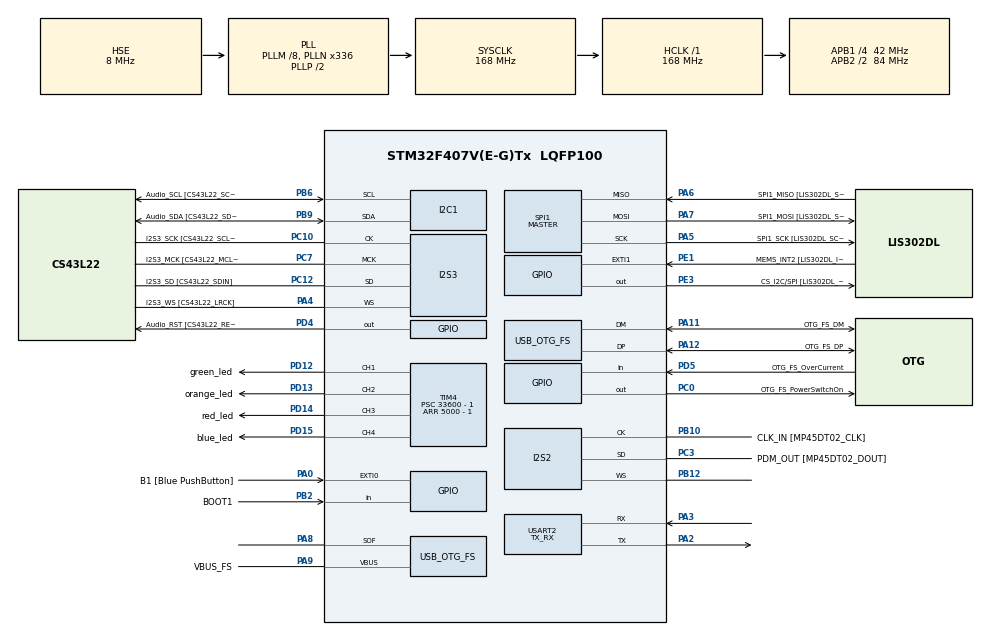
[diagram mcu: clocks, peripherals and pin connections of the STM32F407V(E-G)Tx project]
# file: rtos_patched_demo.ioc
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Dma.Request0=USART2_RX
Dma.Request1=USART2_TX
Dma.Request2=SPI2_RX
Dma.Request3=SPI3_TX
Dma.Request4=TIM3_CH4/UP
Dma.SPI2_RX.2.Direction=DMA_PERIPH_TO_MEMORY
Dma.SPI2_RX.2.FIFOMode=DMA_FIFOMODE_DISABLE
Dma.SPI2_RX.2.Instance=DMA1_Stream3
Dma.SPI2_RX.2.MemDataAlignment=DMA_MDATAALIGN_HALFWORD
Dma.SPI2_RX.2.MemInc=DMA_MINC_ENABLE
Dma.SPI2_RX.2.Mode=DMA_CIRCULAR
Dma.SPI2_RX.2.PeriphDataAlignment=DMA_PDATAALIGN_HALFWORD
Dma.SPI2_RX.2.PeriphInc=DMA_PINC_DISABLE
Dma.SPI2_RX.2.Priority=DMA_PRIORITY_HIGH
Dma.SPI3_TX.3.Direction=DMA_MEMORY_TO_PERIPH
Dma.SPI3_TX.3.FIFOMode=DMA_FIFOMODE_DISABLE
Dma.SPI3_TX.3.Instance=DMA1_Stream7
Dma.SPI3_TX.3.MemDataAlignment=DMA_MDATAALIGN_HALFWORD
Dma.SPI3_TX.3.MemInc=DMA_MINC_ENABLE
Dma.SPI3_TX.3.Mode=DMA_CIRCULAR
Dma.SPI3_TX.3.PeriphDataAlignment=DMA_PDATAALIGN_HALFWORD
Dma.SPI3_TX.3.PeriphInc=DMA_PINC_DISABLE
Dma.SPI3_TX.3.Priority=DMA_PRIORITY_HIGH
Dma.TIM3_CH4/UP.4.Direction=DMA_PERIPH_TO_MEMORY
Dma.TIM3_CH4/UP.4.FIFOMode=DMA_FIFOMODE_DISABLE
Dma.TIM3_CH4/UP.4.Instance=DMA1_Stream2
Dma.TIM3_CH4/UP.4.MemDataAlignment=DMA_MDATAALIGN_HALFWORD
Dma.TIM3_CH4/UP.4.MemInc=DMA_MINC_ENABLE
Dma.TIM3_CH4/UP.4.Mode=DMA_CIRCULAR
Dma.TIM3_CH4/UP.4.PeriphDataAlignment=DMA_PDATAALIGN_HALFWORD
Dma.TIM3_CH4/UP.4.PeriphInc=DMA_PINC_DISABLE
Dma.TIM3_CH4/UP.4.Priority=DMA_PRIORITY_MEDIUM
Dma.USART2_RX.0.Direction=DMA_PERIPH_TO_MEMORY
Dma.USART2_RX.0.FIFOMode=DMA_FIFOMODE_DISABLE
Dma.USART2_RX.0.Instance=DMA1_Stream5
Dma.USART2_RX.0.MemDataAlignment=DMA_MDATAALIGN_BYTE
Dma.USART2_RX.0.MemInc=DMA_MINC_ENABLE
Dma.USART2_RX.0.Mode=DMA_NORMAL
Dma.USART2_RX.0.PeriphDataAlignment=DMA_PDATAALIGN_BYTE
Dma.USART2_RX.0.PeriphInc=DMA_PINC_DISABLE
Dma.USART2_RX.0.Priority=DMA_PRIORITY_MEDIUM
Dma.USART2_TX.1.Direction=DMA_MEMORY_TO_PERIPH
Dma.USART2_TX.1.FIFOMode=DMA_FIFOMODE_DISABLE
Dma.USART2_TX.1.Instance=DMA1_Stream6
Dma.USART2_TX.1.MemDataAlignment=DMA_MDATAALIGN_BYTE
Dma.USART2_TX.1.MemInc=DMA_MINC_ENABLE
Dma.USART2_TX.1.Mode=DMA_NORMAL
Dma.USART2_TX.1.PeriphDataAlignment=DMA_PDATAALIGN_BYTE
Dma.USART2_TX.1.PeriphInc=DMA_PINC_DISABLE
Dma.USART2_TX.1.Priority=DMA_PRIORITY_MEDIUM
FREERTOS.HEAP_NUMBER=4
FREERTOS.Tasks01=defaultTask,8,256,StartDefaultTask,Default,NULL,Dynamic,NULL,NULL
FREERTOS.configCHECK_FOR_STACK_OVERFLOW=2
FREERTOS.configENABLE_FPU=1
FREERTOS.configMINIMAL_STACK_SIZE=256
FREERTOS.configTIMER_TASK_PRIORITY=2
FREERTOS.configUSE_MALLOC_FAILED_HOOK=1
FREERTOS.configUSE_NEWLIB_REENTRANT=1
FREERTOS.copyHeapFile=0
I2C1.I2C_Mode=I2C_Fast
I2S2.AudioFreq=I2S_AUDIOFREQ_192K
I2S2.CPOL=I2S_CPOL_HIGH
I2S2.ErrorAudioFreq=-2.34 %
I2S2.FullDuplexMode=I2S_FULLDUPLEXMODE_DISABLE
I2S2.Instance=SPI$Index
I2S2.Mode=I2S_MODE_MASTER_RX
I2S2.RealAudioFreq=187.5 KHz
I2S2.Standard=I2S_STANDARD_MSB
I2S2.VirtualMode=I2S_MODE_MASTER
I2S3.AudioFreq-Half_Duplex_Master=I2S_AUDIOFREQ_96K
I2S3.ErrorAudioFreq=-2.34 %
I2S3.ErrorAudioFreq-Half_Duplex_Master=0.8 %
I2S3.FullDuplexMode=I2S_FULLDUPLEXMODE_DISABLE
I2S3.Instance=SPI$Index
I2S3.RealAudioFreq=93.75 KHz
I2S3.RealAudioFreq-Half_Duplex_Master=96.774 KHz
I2S3.VirtualMode=I2S_MODE_MASTER
Mcu.Family=STM32F4
Mcu.Name=STM32F407V(E-G)Tx
Mcu.Package=LQFP100
NVIC.DMA1_Stream2_IRQn=true\:5\:0\:false\:false\:true\:true\:false\:true\:true
NVIC.DMA1_Stream3_IRQn=true\:5\:0\:false\:false\:true\:true\:false\:true\:true
NVIC.DMA1_Stream5_IRQn=true\:5\:0\:false\:false\:true\:true\:false\:true\:true
NVIC.DMA1_Stream6_IRQn=true\:5\:0\:false\:false\:true\:true\:false\:true\:true
NVIC.DMA1_Stream7_IRQn=true\:5\:0\:false\:false\:true\:true\:false\:true\:true
NVIC.OTG_FS_IRQn=true\:5\:0\:false\:false\:true\:true\:true\:true\:true
NVIC.PriorityGroup=NVIC_PRIORITYGROUP_4
NVIC.SPI2_IRQn=true\:5\:0\:false\:false\:true\:true\:true\:true\:true
NVIC.SPI3_IRQn=true\:5\:0\:false\:false\:true\:true\:true\:true\:true
NVIC.TIM2_IRQn=true\:15\:0\:false\:false\:true\:false\:false\:true\:true
NVIC.TimeBase=TIM2_IRQn
NVIC.TimeBaseIP=TIM2
NVIC.USART2_IRQn=true\:5\:0\:false\:false\:true\:true\:true\:true\:true
PA0-WKUP.GPIO_Label=B1 [Blue PushButton]
PA0-WKUP.GPIO_ModeDefaultEXTI=GPIO_MODE_EVT_RISING
PA0-WKUP.GPIO_PuPd=GPIO_NOPULL
PA0-WKUP.Signal=GPXTI0
PA10.GPIO_Label=OTG_FS_ID
PA10.GPIO_Mode=GPIO_MODE_AF_PP
PA10.GPIO_PuPd=GPIO_NOPULL
PA10.GPIO_Speed=GPIO_SPEED_FREQ_LOW
PA10.Signal=USB_OTG_FS_ID
PA11.GPIO_Label=OTG_FS_DM
PA11.GPIO_Mode=GPIO_MODE_AF_PP
PA11.GPIO_PuPd=GPIO_NOPULL
PA11.GPIO_Speed=GPIO_SPEED_FREQ_LOW
PA11.Mode=Device_Only
PA11.Signal=USB_OTG_FS_DM
PA12.GPIO_Label=OTG_FS_DP
PA12.GPIO_Mode=GPIO_MODE_AF_PP
PA12.GPIO_PuPd=GPIO_NOPULL
PA12.GPIO_Speed=GPIO_SPEED_FREQ_LOW
PA12.Mode=Device_Only
PA12.Signal=USB_OTG_FS_DP
PA13.GPIO_Label=SWDIO
PA13.Mode=Serial_Wire
PA13.Signal=SYS_JTMS-SWDIO
PA14.GPIO_Label=SWCLK
PA14.Mode=Serial_Wire
PA14.Signal=SYS_JTCK-SWCLK
PA2.Mode=Asynchronous
PA2.Signal=USART2_TX
PA3.Mode=Asynchronous
PA3.Signal=USART2_RX
PA4.GPIO_Label=I2S3_WS [CS43L22_LRCK]
PA4.GPIO_Mode=GPIO_MODE_AF_PP
PA4.GPIO_PuPd=GPIO_NOPULL
PA4.GPIO_Speed=GPIO_SPEED_FREQ_LOW
PA4.Mode=Half_Duplex_Master
PA4.Signal=I2S3_WS
PA5.GPIO_Label=SPI1_SCK [LIS302DL_SCL/SPC]
PA5.GPIO_Mode=GPIO_MODE_AF_PP
PA5.GPIO_PuPd=GPIO_NOPULL
PA5.GPIO_Speed=GPIO_SPEED_FREQ_LOW
PA5.Mode=Full_Duplex_Master
PA5.Signal=SPI1_SCK
PA6.GPIO_Label=SPI1_MISO [LIS302DL_SDO]
PA6.GPIO_Mode=GPIO_MODE_AF_PP
PA6.GPIO_PuPd=GPIO_NOPULL
PA6.GPIO_Speed=GPIO_SPEED_FREQ_LOW
PA6.Mode=Full_Duplex_Master
PA6.Signal=SPI1_MISO
PA7.GPIO_Label=SPI1_MOSI [LIS302DL_SDA/SDI/SDO]
PA7.GPIO_Mode=GPIO_MODE_AF_PP
PA7.GPIO_PuPd=GPIO_NOPULL
PA7.GPIO_Speed=GPIO_SPEED_FREQ_LOW
PA7.Mode=Full_Duplex_Master
PA7.Signal=SPI1_MOSI
PA8.Mode=Activate_SOF_FS
PA8.Signal=USB_OTG_FS_SOF
PA9.GPIO_Label=VBUS_FS
PA9.GPIO_Mode=GPIO_MODE_INPUT
PA9.GPIO_PuPd=GPIO_NOPULL
PA9.Mode=Activate_VBUS
PA9.Signal=USB_OTG_FS_VBUS
PB10.GPIO_Label=CLK_IN [MP45DT02_CLK]
PB10.GPIO_Mode=GPIO_MODE_AF_PP
PB10.GPIO_PuPd=GPIO_NOPULL
PB10.GPIO_Speed=GPIO_SPEED_FREQ_LOW
PB10.Mode=Half_Duplex_Master
PB10.Signal=I2S2_CK
PB12.Mode=Half_Duplex_Master
PB12.Signal=I2S2_WS
PB2.GPIO_Label=BOOT1
PB2.GPIO_Mode=GPIO_MODE_INPUT
PB2.GPIO_PuPd=GPIO_NOPULL
PB2.Signal=GPIO_Input
PB3.GPIO_Label=SWO
PB3.Signal=SYS_JTDO-SWO
PB6.GPIO_Label=Audio_SCL [CS43L22_SCL]
PB6.GPIO_Mode=GPIO_MODE_AF_OD
PB6.GPIO_Pu=GPIO_PULLUP
PB6.GPIO_PuPd=GPIO_NOPULL
PB6.GPIO_Speed=GPIO_SPEED_FREQ_LOW
PB6.Mode=I2C
PB6.Signal=I2C1_SCL
PB9.GPIO_Label=Audio_SDA [CS43L22_SDA]
PB9.GPIO_Mode=GPIO_MODE_AF_OD
PB9.GPIO_Pu=GPIO_PULLUP
PB9.GPIO_PuPd=GPIO_NOPULL
PB9.GPIO_Speed=GPIO_SPEED_FREQ_LOW
PB9.Mode=I2C
PB9.Signal=I2C1_SDA
PC0.GPIO_Label=OTG_FS_PowerSwitchOn
PC0.GPIO_PuPd=GPIO_NOPULL
PC0.GPIO_Speed=GPIO_SPEED_FREQ_LOW
PC0.PinState=GPIO_PIN_SET
PC0.Signal=GPIO_Output
PC10.GPIO_Label=I2S3_SCK [CS43L22_SCLK]
PC10.GPIO_Mode=GPIO_MODE_AF_PP
PC10.GPIO_PuPd=GPIO_NOPULL
PC10.GPIO_Speed=GPIO_SPEED_FREQ_LOW
PC10.Mode=Half_Duplex_Master
PC10.Signal=I2S3_CK
PC12.GPIO_Label=I2S3_SD [CS43L22_SDIN]
PC12.GPIO_Mode=GPIO_MODE_AF_PP
PC12.GPIO_PuPd=GPIO_NOPULL
PC12.GPIO_Speed=GPIO_SPEED_FREQ_LOW
PC12.Mode=Half_Duplex_Master
PC12.Signal=I2S3_SD
PC14-OSC32_IN.GPIO_Label=PC14-OSC32_IN
PC14-OSC32_IN.Mode=LSE-External-Oscillator
PC14-OSC32_IN.Signal=RCC_OSC32_IN
PC15-OSC32_OUT.GPIO_Label=PC15-OSC32_OUT
PC15-OSC32_OUT.Mode=LSE-External-Oscillator
PC15-OSC32_OUT.Signal=RCC_OSC32_OUT
PC3.GPIO_Label=PDM_OUT [MP45DT02_DOUT]
PC3.GPIO_Mode=GPIO_MODE_AF_PP
PC3.GPIO_PuPd=GPIO_NOPULL
PC3.GPIO_Speed=GPIO_SPEED_FREQ_LOW
PC3.Mode=Half_Duplex_Master
PC3.Signal=I2S2_SD
PC7.GPIO_Label=I2S3_MCK [CS43L22_MCLK]
PC7.GPIO_Mode=GPIO_MODE_AF_PP
PC7.GPIO_PuPd=GPIO_NOPULL
PC7.GPIO_Speed=GPIO_SPEED_FREQ_LOW
PC7.Mode=Master_Clock_Activated
PC7.Signal=I2S3_MCK
PD12.GPIO_Label=green_led
PD12.Signal=S_TIM4_CH1
PD13.GPIO_Label=orange_led
PD13.Signal=S_TIM4_CH2
PD14.GPIO_Label=red_led
PD14.Signal=S_TIM4_CH3
PD15.GPIO_Label=blue_led
PD15.Signal=S_TIM4_CH4
PD4.GPIO_Label=Audio_RST [CS43L22_RESET]
PD4.GPIO_PuPd=GPIO_NOPULL
PD4.GPIO_Speed=GPIO_SPEED_FREQ_LOW
PD4.Signal=GPIO_Output
PD5.GPIO_Label=OTG_FS_OverCurrent
PD5.GPIO_Mode=GPIO_MODE_INPUT
PD5.GPIO_PuPd=GPIO_NOPULL
PD5.Signal=GPIO_Input
PDM2PCM.CHANNEL1_decimation_factor=PDM_FILTER_DEC_FACTOR_16
PDM2PCM.CHANNEL1_endianness=PDM_FILTER_ENDIANNESS_LE
PDM2PCM.CHANNEL1_in_ptr_channels=1
PDM2PCM.CHANNEL1_out_ptr_channels=1
PDM2PCM.CHANNEL1_output_samples_number=48
PE1.GPIO_Label=MEMS_INT2 [LIS302DL_INT2]
PE1.GPIO_ModeDefaultEXTI=GPIO_MODE_EVT_RISING
PE1.GPIO_PuPd=GPIO_NOPULL
PE1.Signal=GPXTI1
PE3.GPIO_Label=CS_I2C/SPI [LIS302DL_CS_I2C/SPI]
PE3.GPIO_PuPd=GPIO_NOPULL
PE3.GPIO_Speed=GPIO_SPEED_FREQ_LOW
PE3.Signal=GPIO_Output
PH0-OSC_IN.GPIO_Label=PH0-OSC_IN
PH0-OSC_IN.Mode=HSE-External-Oscillator
PH0-OSC_IN.Signal=RCC_OSC_IN
PH1-OSC_OUT.GPIO_Label=PH1-OSC_OUT
PH1-OSC_OUT.Mode=HSE-External-Oscillator
PH1-OSC_OUT.Signal=RCC_OSC_OUT
ProjectManager.HeapSize=0x2000
ProjectManager.StackSize=0x2200
ProjectManager.TargetToolchain=STM32CubeIDE
RCC.48MHZClocksFreq_Value=48000000
RCC.AHBFreq_Value=168000000
RCC.APB1CLKDivider=RCC_HCLK_DIV4
RCC.APB1Freq_Value=42000000
RCC.APB1TimFreq_Value=84000000
RCC.APB2CLKDivider=RCC_HCLK_DIV2
RCC.APB2Freq_Value=84000000
RCC.APB2TimFreq_Value=168000000
RCC.CortexFreq_Value=168000000
RCC.HCLKFreq_Value=168000000
RCC.HSE_VALUE=8000000
RCC.HSI_VALUE=16000000
RCC.PLLM=8
RCC.PLLN=336
RCC.PLLQ=7
RCC.SYSCLKFreq_VALUE=168000000
RCC.SYSCLKSource=RCC_SYSCLKSOURCE_PLLCLK
RCC.VCOOutputFreq_Value=336000000
SH.S_TIM4_CH1.0=TIM4_CH1,PWM Generation1 CH1
SH.S_TIM4_CH2.0=TIM4_CH2,PWM Generation2 CH2
SH.S_TIM4_CH3.0=TIM4_CH3,PWM Generation3 CH3
SH.S_TIM4_CH4.0=TIM4_CH4,PWM Generation4 CH4
SPI1.BaudRatePrescaler-Full_Duplex_Master=SPI_BAUDRATEPRESCALER_2
SPI1.CalculateBaudRate-Full_Duplex_Master=42.0 MBits/s
SPI1.Direction=SPI_DIRECTION_2LINES
SPI1.Mode=SPI_MODE_MASTER
SPI1.Mode-Full_Duplex_Master=SPI_MODE_MASTER
SPI1.VirtualType=VM_MASTER
TIM3.Channel-PWM\ Generation1\ No\ Output=TIM_CHANNEL_1
TIM3.OCFastMode_PWM-PWM\ Generation1\ No\ Output=TIM_OCFAST_ENABLE
TIM3.Period=5000 - 1
TIM3.Prescaler=33600 - 1
TIM3.Pulse-PWM\ Generation1\ No\ Output=5000 / 2
TIM4.AutoReloadPreload=TIM_AUTORELOAD_PRELOAD_ENABLE
TIM4.Channel-PWM\ Generation1\ CH1=TIM_CHANNEL_1
TIM4.Channel-PWM\ Generation2\ CH2=TIM_CHANNEL_2
TIM4.Channel-PWM\ Generation3\ CH3=TIM_CHANNEL_3
TIM4.Channel-PWM\ Generation4\ CH4=TIM_CHANNEL_4
TIM4.Period=5000 - 1
TIM4.Prescaler=33600 - 1
TIM4.Pulse-PWM\ Generation1\ CH1=5000 / 2
TIM4.Pulse-PWM\ Generation2\ CH2=5000 / 2
TIM4.Pulse-PWM\ Generation3\ CH3=5000 / 2
TIM4.Pulse-PWM\ Generation4\ CH4=5000 / 2
USART2.Mode=MODE_TX_RX
USART2.VirtualMode=VM_ASYNC
USB_OTG_FS.VirtualMode=Device_Only
VP_CRC_VS_CRC.Mode=CRC_Activate
VP_FREERTOS_VS_CMSIS_V2.Mode=CMSIS_V2
VP_PDM2PCM_VS_PDM2PCM.Mode=PDM2PCM_Channel
VP_RNG_VS_RNG.Mode=RNG_Activate
VP_SYS_VS_tim2.Mode=TIM2
VP_TIM3_VS_no_output1.Mode=PWM Generation1 No Output
board=STM32F407G-DISC1

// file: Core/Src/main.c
/* USER CODE BEGIN Header */
/**
  ******************************************************************************
  * @file           : main.c
  * @brief          : Main program body
  ******************************************************************************
  * @attention
  *
  * Copyright (c) 2023 STMicroelectronics.
  * All rights reserved.
  *
  * This software is licensed under terms that can be found in the LICENSE file
  * in the root directory of this software component.
  * If no LICENSE file comes with this software, it is provided AS-IS.
  *
  ******************************************************************************
  */
/* USER CODE END Header */
#include "main.h"
#include "cmsis_os.h"
#include "crc.h"
#include "dma.h"
#include "i2c.h"
#include "i2s.h"
#include "pdm2pcm.h"
#include "rng.h"
#include "spi.h"
#include "tim.h"
#include "usart.h"
#include "usb_otg.h"
#include "gpio.h"

void SystemClock_Config(void);
void PeriphCommonClock_Config(void);
void MX_FREERTOS_Init(void);

int main(void)
{

  /* MCU Configuration--------------------------------------------------------*/

  /* Reset of all peripherals, Initializes the Flash interface and the Systick. */
  HAL_Init();

  /* Configure the system clock */
  SystemClock_Config();

/* Configure the peripherals common clocks */
  PeriphCommonClock_Config();

  /* Initialize all configured peripherals */
  MX_GPIO_Init();
  MX_DMA_Init();
  MX_I2C1_Init();
  MX_I2S3_Init();
  MX_SPI1_Init();
  MX_RNG_Init();
  MX_USART2_UART_Init();
  MX_TIM4_Init();
  MX_CRC_Init();
  MX_PDM2PCM_Init();
  MX_I2S2_Init();
  MX_USB_OTG_FS_PCD_Init();
  MX_TIM3_Init();
  /* USER CODE BEGIN 2 */
  traceSTART();
  SEGGER_SYSVIEW_PrintfHost("SEGGER tracing started\n"); // todo: first message did not printed before kernel start

  /* USER CODE END 2 */

  /* Init scheduler */
  osKernelInitialize();

  /* Call init function for freertos objects (in freertos.c) */
  MX_FREERTOS_Init();

  /* Start scheduler */
  osKernelStart();

  /* We should never get here as control is now taken by the scheduler */
  /* Infinite loop */
  /* USER CODE BEGIN WHILE */
  assert_param(0);
  while (1)
  {
    /* USER CODE END WHILE */

  }
}

void SystemClock_Config(void)
{
  RCC_OscInitTypeDef RCC_OscInitStruct = {0};
  RCC_ClkInitTypeDef RCC_ClkInitStruct = {0};

  /** Configure the main internal regulator output voltage
  */
  __HAL_RCC_PWR_CLK_ENABLE();
  __HAL_PWR_VOLTAGESCALING_CONFIG(PWR_REGULATOR_VOLTAGE_SCALE1);

  /** Initializes the RCC Oscillators according to the specified parameters
  * in the RCC_OscInitTypeDef structure.
  */
  RCC_OscInitStruct.OscillatorType = RCC_OSCILLATORTYPE_HSE;
  RCC_OscInitStruct.HSEState = RCC_HSE_ON;
  RCC_OscInitStruct.PLL.PLLState = RCC_PLL_ON;
  RCC_OscInitStruct.PLL.PLLSource = RCC_PLLSOURCE_HSE;
  RCC_OscInitStruct.PLL.PLLM = 8;
  RCC_OscInitStruct.PLL.PLLN = 336;
  RCC_OscInitStruct.PLL.PLLP = RCC_PLLP_DIV2;
  RCC_OscInitStruct.PLL.PLLQ = 7;
  if (HAL_RCC_OscConfig(&RCC_OscInitStruct) != HAL_OK)
  {
    Error_Handler();
  }

  /** Initializes the CPU, AHB and APB buses clocks
  */
  RCC_ClkInitStruct.ClockType = RCC_CLOCKTYPE_HCLK|RCC_CLOCKTYPE_SYSCLK
                              |RCC_CLOCKTYPE_PCLK1|RCC_CLOCKTYPE_PCLK2;
  RCC_ClkInitStruct.SYSCLKSource = RCC_SYSCLKSOURCE_PLLCLK;
  RCC_ClkInitStruct.AHBCLKDivider = RCC_SYSCLK_DIV1;
  RCC_ClkInitStruct.APB1CLKDivider = RCC_HCLK_DIV4;
  RCC_ClkInitStruct.APB2CLKDivider = RCC_HCLK_DIV2;

  if (HAL_RCC_ClockConfig(&RCC_ClkInitStruct, FLASH_LATENCY_5) != HAL_OK)
  {
    Error_Handler();
  }
}

void PeriphCommonClock_Config(void)
{
  RCC_PeriphCLKInitTypeDef PeriphClkInitStruct = {0};

  /** Initializes the peripherals clock
  */
  PeriphClkInitStruct.PeriphClockSelection = RCC_PERIPHCLK_I2S;
  PeriphClkInitStruct.PLLI2S.PLLI2SN = 192;
  PeriphClkInitStruct.PLLI2S.PLLI2SR = 2;
  if (HAL_RCCEx_PeriphCLKConfig(&PeriphClkInitStruct) != HAL_OK)
  {
    Error_Handler();
  }
}

void HAL_TIM_PeriodElapsedCallback(TIM_HandleTypeDef *htim)
{
  if (htim->Instance == TIM2) {
    HAL_IncTick();
  }
}

void Error_Handler(void)
{
  __disable_irq();
  while (1)
  {
  }
}

#ifdef  USE_FULL_ASSERT
/**
  * @brief  Reports the name of the source file and the source line number
  *         where the assert_param error has occurred.
  * @param  file: pointer to the source file name
  * @param  line: assert_param error line source number
  * @retval None
  */
void assert_failed(uint8_t *file, uint32_t line)
{
  /* USER CODE BEGIN 6 */
  /* User can add his own implementation to report the file name and line number,
     ex: printf("Wrong parameters value: file %s on line %d\r\n", file, line) */
    __disable_irq();
    // catch the error and stop the program inside an endless loop
    while (1) {
        SEGGER_SYSVIEW_PrintfHost("[DEBUG] ASSERT FAILED: file %s on line %lu\n", file, line);
    }
  /* USER CODE END 6 */
}
#endif /* USE_FULL_ASSERT */

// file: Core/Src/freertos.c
/* USER CODE BEGIN Header */
/**
  ******************************************************************************
  * File Name          : freertos.c
  * Description        : Code for freertos applications
  ******************************************************************************
  * @attention
  *
  * Copyright (c) 2023 STMicroelectronics.
  * All rights reserved.
  *
  * This software is licensed under terms that can be found in the LICENSE file
  * in the root directory of this software component.
  * If no LICENSE file comes with this software, it is provided AS-IS.
  *
  ******************************************************************************
  */
/* USER CODE END Header */

#include "FreeRTOS.h"
#include "task.h"
#include "main.h"
#include "cmsis_os.h"

/* USER CODE BEGIN Includes */
#include "usart.h"
#include "tim.h"
#include "stream_buffer.h"
#include <string.h>
#include <math.h>
#include <stdlib.h>

#include "device/usbd.h"
#include "tinyusb_utils.h"
#include "freertos_util.h"
#include "signal_generators.h"
#include "filter_util.h"
#include "mic_util.h"
#include "pdm2pcm.h"
/* USER CODE END Includes */

/* USER CODE BEGIN PM */
TaskHandle_t init_taskHandle = NULL;
TaskHandle_t uart_rx_taskHandle = NULL;
TaskHandle_t uart_tx_taskHandle = NULL;
TaskHandle_t led_ctrl_taskHandle = NULL;
TaskHandle_t generate_signal_taskHandle = NULL;
TaskHandle_t usb_taskHandle = NULL;
TaskHandle_t filter_taskHandle = NULL;
TaskHandle_t mic_taskHandle = NULL;

StreamBufferHandle_t uart_tx_bufferHandle = NULL;   // this is the stream buffer
//StaticStreamBuffer_t uart_tx_streamHandle;          // this is the handle to assert for stream buffer
StreamBufferHandle_t usb_bufferHandle = NULL;   // this is the stream buffer

/* USER CODE END PM */

/* USER CODE BEGIN Variables */

extern uint8_t uart_tx_buffer[UART_TX_BUFFER_SIZE + 1];
extern uint8_t uart_rx_char;

int16_t signal_buffer[SIGNAL_SIZE] = {0};
uint16_t mic_pdm_buffer[SIGNAL_SIZE * 2] = {0};
extern BufferStates mic_pdm_buffer_state;
extern SignalRecordBuffer filter_buffer;

/** initials variables and menu settings */
Program_States program_state = MAIN_MENU;
ModeState mode_states = NONE;
SignalFunction signal_functions[] = {generate_cos, generate_saw, generate_triangle, generate_square, generate_impulse};
FilterFunction filter_functions[] = {fir_filter, iir_filter_direct_1, iir_filter_direct_2};

SignalSettings signal_settings = {
        .signal_type = COS,
        .freqs = {100, 500, 1000, 1500, 2000, 2500, 3000, 3500, 4000, 4500, 5000, 7000, 10000, 15000},
        .amplitude = 1,
        .sample_period = 1.0f / 48000.0f,
        .dc_point = 0,
        .duty_cycle = 5
};

bool use_sos = false;

extern Filter current_filter;

static inline const char *enum2string(SignalTypes signal_type) {
    static const char *values[] = {"COS", "SAW", "TRI", "SQU", "IMP"};

    return values[signal_type];
}

static inline const char *freq2string(int16_t *freqs) {
    static char freq_str[MAX_FREQS * 10];
    int chars_written = 0;
    int offset = 0;

    for (int i = 0; i < MAX_FREQS; ++i) {
        int16_t freq = freqs[i];
        if (freq < 1) break;
        chars_written = snprintf(freq_str + offset, sizeof(freq_str) - offset, "%d, ", freq);
        if (chars_written < 0) {
            SEGGER_SYSVIEW_PrintfHost("error on writing chars");
            return NULL;
        }
        offset += chars_written;
    }
    return freq_str;
}

static inline const char *int2str(int amplitude) {
    static char amp_str[6];
//    memset(amp_str, 0, sizeof(amp_str));
    int chars_written = snprintf(amp_str, sizeof(amp_str), "%d", (int) amplitude);
    if (chars_written < 0) {
        // something is wrong on amp_str
        SEGGER_SYSVIEW_PrintfHost("error on writing chars");
        return NULL;
    }
    return amp_str;
}
/******************************/

#define MIC_IN_SIZE (196)
#define PCM_SIZE    (MIC_IN_SIZE / 2)

BufferState mic_in_state = DATA_REQUEST;
BufferState pcm_state = DATA_REQUEST;

uint16_t mic_in_buffer[MIC_IN_SIZE] = {0};
int16_t pcm_buffer[PCM_SIZE] = {0};

/*** function prototypes ***/
void main_menu(const char input);
void mode_menu(const char input);
void signal_menu(const char input);
void filter_menu(const char input);
void update_mode_menu(void);
void update_signal_menu(void);
void update_filter_menu(void);

void apply_filter(void);

/* tasks */
void init_task(void *argument);
void input_control(void *argument);
void led_control(void *argument);
void uart_transmit_task(void *argument);
void generate_signal(void *argument);
void usb_task(void *argument);
void filter_task(void *argument);
void mic_task(void *argument);

StateFunction state_functions[] = {main_menu, mode_menu, signal_menu, filter_menu};
/***************************/

void update_mode_menu(void) {
    for (int i = 0; i < MENU_POSITIONS_SIZE; ++i) {
        mode_menu_message[mode_menu_positions[i]] = (mode_states & (1 << i)) ? ('x') : ('-');
    }
    uart_transmit(clear_code);
    uart_transmit(mode_menu_message);
}

void main_menu(const char input) {
    SEGGER_SYSVIEW_PrintfHost("main_menu running");
    switch (input) {
        case '1':
            program_state = MODE_MENU;
            uart_transmit(clear_code);
            uart_transmit(mode_menu_message);
            break;
        case '2':
            program_state = SIGNAL_MENU;
            update_signal_menu();
            break;
        case '3':
            program_state = FILTER_MENU;
            update_filter_menu();
            break;
        case '9':
            uart_transmit(clear_code);
            uart_transmit(about_message);
            break;
        case '0':
            program_state = MAIN_MENU;
            uart_transmit(clear_code);
            uart_transmit(main_menu_message);
            break;
        default:
            uart_transmit(not_understood_message);
            break;
    }
    uart_receive();
}

void mode_menu(const char input) {
    SEGGER_SYSVIEW_PrintfHost("mode_menu running");
    switch (input) {
        case '1':
            mode_states ^= MIC_ENABLE;
            mode_states &= ~(SIGNAL_ENABLE | ADC_ENABLE);
            break;
        case '2':
            mode_states ^= SIGNAL_ENABLE;
            mode_states &= ~(MIC_ENABLE | ADC_ENABLE);
            break;
        case '3':
            mode_states ^= ADC_ENABLE;
            mode_states &= ~(MIC_ENABLE | SIGNAL_ENABLE);
            break;
        case '4':
            mode_states ^= USB_ENABLE;
            break;
        case '5':
            mode_states ^= DAC_ENABLE;
            break;
        case '6':
            mode_states ^= DRIVER_ENABLE;
            break;
        case '7':
            mode_states ^= FILTER_ENABLE;
            break;
        case '0':
            program_state = MAIN_MENU;
            uart_transmit(clear_code);
            uart_transmit(main_menu_message);
            break;
        default:
            uart_transmit(not_understood_message);
            break;
    }
//    if (mode_states & MIC_ENABLE) {
//        vTaskSuspend(generate_signal_taskHandle);
//        vTaskResume(mic_taskHandle);
//    } else if (mode_states & SIGNAL_ENABLE) {
//        vTaskSuspend(mic_taskHandle);
//        vTaskResume(generate_signal_taskHandle);
//    }

    uart_receive();
    /* at the end of the mode selection, check all led states with the new modes */
    update_mode_menu();
    xTaskNotifyGive(led_ctrl_taskHandle);
}

void update_signal_menu(void) {
    const char *signal_type_str = enum2string(signal_settings.signal_type);
    memcpy(signal_menu_message + signal_menu_positions[0], signal_type_str, strlen(signal_type_str));

    const char *signal_freq_str = freq2string(signal_settings.freqs);
    memcpy(signal_menu_message + signal_menu_positions[1], signal_freq_str, strlen(signal_freq_str));

    clear_prev_positions(signal_menu_message, signal_menu_positions[2], 4);
    const char *signal_amp_str = int2str((int) signal_settings.amplitude);
    memcpy(signal_menu_message + signal_menu_positions[2], signal_amp_str, strlen(signal_amp_str));

    clear_prev_positions(signal_menu_message, signal_menu_positions[4], 5);
    const char *signal_dc_str = int2str((int) signal_settings.dc_point);
    memcpy(signal_menu_message + signal_menu_positions[4], signal_dc_str, strlen(signal_dc_str));

    uart_transmit(clear_code);
    uart_transmit(signal_menu_message);
}

void update_filter_menu(void) {
    const char *filter_type_str = (use_sos) ? ("SOS"): ("DIR");
    clear_prev_positions(filter_menu_message, filter_menu_positions[0], 3);
    memcpy(filter_menu_message + filter_menu_positions[0], filter_type_str, strlen(filter_type_str));

    clear_prev_positions(filter_menu_message, filter_menu_positions[1], 32);
    const char *filter_name_str = get_current_filter_name();
    memcpy(filter_menu_message + filter_menu_positions[1], filter_name_str, strlen(filter_name_str));

    uart_transmit(clear_code);
    uart_transmit(filter_menu_message);
}

void signal_menu(const char input) {
    SEGGER_SYSVIEW_PrintfHost("signal_menu running");
    switch (input) {
        case '1':
            signal_settings.signal_type = (signal_settings.signal_type == IMP) ? (COS) : (signal_settings.signal_type + 1);
            xStreamBufferReset(usb_bufferHandle);
            calculate_lut();
            break;
        case '2':
            // todo: find a way to change frequencies
            __NOP();
            break;
        case '3':
            signal_settings.amplitude = get_next_amplitude();
            SEGGER_SYSVIEW_PrintfHost("amplitude: %d", signal_settings.amplitude);
            calculate_lut();
            break;
        case '4':
            // todo: changing sample frequency is not supported
            __NOP();
            break;
        case '5':
            signal_settings.dc_point = get_next_dc_point();
            calculate_lut();
            break;
        case '9':
            break;
        case '0':
            program_state = MAIN_MENU;
            uart_transmit(clear_code);
            uart_transmit(main_menu_message);
            break;
        default:
            uart_transmit(not_understood_message);
            break;
    }
    update_signal_menu();
    uart_receive();
}

void filter_menu(const char input) {
    SEGGER_SYSVIEW_PrintfHost("filter_menu running");
    switch (input) {
        case '1':
            use_sos = !use_sos;
            break;
        case '2':
            cycle_over();
            break;
        case '0':
            program_state = MAIN_MENU;
            uart_transmit(clear_code);
            uart_transmit(main_menu_message);
            break;
        default:
            uart_transmit(not_understood_message);
            break;
    }
    update_filter_menu();
    uart_receive();
}

/* USER CODE END Variables */
/* Definitions for defaultTask */
osThreadId_t defaultTaskHandle;
const osThreadAttr_t defaultTask_attributes = {
  .name = "defaultTask",
  .stack_size = 256 * 4,
  .priority = (osPriority_t) osPriorityLow,
};

void StartDefaultTask(void *argument);

void MX_FREERTOS_Init(void); /* (MISRA C 2004 rule 8.1) */

/* Hook prototypes */
void vApplicationStackOverflowHook(xTaskHandle xTask, signed char *pcTaskName);
void vApplicationMallocFailedHook(void);

/* USER CODE BEGIN 4 */
void vApplicationStackOverflowHook(xTaskHandle xTask, signed char *pcTaskName)
{
   /* Run time stack overflow checking is performed if
   configCHECK_FOR_STACK_OVERFLOW is defined to 1 or 2. This hook function is
   called if a stack overflow is detected. */
    UNUSED(xTask);
    UNUSED(pcTaskName);
   while (1) {
       //stackoverflow
       __NOP();
   }
}
/* USER CODE END 4 */

/* USER CODE BEGIN 5 */
void vApplicationMallocFailedHook(void)
{
   /* vApplicationMallocFailedHook() will only be called if
   configUSE_MALLOC_FAILED_HOOK is set to 1 in FreeRTOSConfig.h. It is a hook
   function that will get called if a call to pvPortMalloc() fails.
   pvPortMalloc() is called internally by the kernel whenever a task, queue,
   timer or semaphore is created. It is also called by various parts of the
   demo application. If heap_1.c or heap_2.c are used, then the size of the
   heap available to pvPortMalloc() is defined by configTOTAL_HEAP_SIZE in
   FreeRTOSConfig.h, and the xPortGetFreeHeapSize() API function can be used
   to query the size of free heap space that remains (although it does not
   provide information on how the remaining heap might be fragmented). */
    while (1) {
        // malloc failed
        __NOP();
    }
}
/* USER CODE END 5 */

void MX_FREERTOS_Init(void) {

  /* USER CODE BEGIN RTOS_SEMAPHORES */
  /* add semaphores, ... */

  BaseType_t uart_rx_task_xReturned = xTaskCreate(input_control,
                                                  "uartRxTask",
                                                  configMINIMAL_STACK_SIZE,
                                                  (void *) 1,
                                                  osPriorityBelowNormal,
                                                  &uart_rx_taskHandle);

  assert_param(uart_rx_task_xReturned == pdPASS);

  BaseType_t uart_tx_task_xReturned = xTaskCreate(uart_transmit_task,
                                                    "uartTxTask",
                                                    configMINIMAL_STACK_SIZE,
                                                    (void *) 1,
                                                    osPriorityBelowNormal,
                                                    &uart_tx_taskHandle);
  assert_param(uart_tx_task_xReturned == pdPASS);

  BaseType_t led_task_xReturned = xTaskCreate(led_control,
                                                    "LedCtrlTask",
                                                    configMINIMAL_STACK_SIZE,
                                                    (void *) 1,
                                                    osPriorityLow1,
                                                    &led_ctrl_taskHandle);

  assert_param(led_task_xReturned == pdPASS);

  BaseType_t init_task_xReturned = xTaskCreate(init_task,
                                                "InitTask",
                                                configMINIMAL_STACK_SIZE,
                                                (void *) 1,
                                                osPriorityHigh,
                                                &init_taskHandle);

  assert_param(init_task_xReturned == pdPASS);

  BaseType_t generate_signal_task_xReturned = xTaskCreate(generate_signal,
                                                 "GenerateSignalTask",
                                                 configMINIMAL_STACK_SIZE,
                                                 (void *) 1,
                                                 osPriorityAboveNormal,
                                                 &generate_signal_taskHandle);

  assert_param(generate_signal_task_xReturned == pdPASS);

  BaseType_t usb_task_xReturned = xTaskCreate(usb_task,
                                              "UsbTask",
                                              configMINIMAL_STACK_SIZE,
                                              (void *) 1,
                                              osPriorityHigh,
                                              &usb_taskHandle);

  assert_param(usb_task_xReturned == pdPASS);

  BaseType_t filter_task_xReturned = xTaskCreate(filter_task,
                                                "FilterTask",
                                                configMINIMAL_STACK_SIZE,
                                                (void *) 1,
                                                osPriorityAboveNormal1,
                                                &filter_taskHandle);

  assert_param(filter_task_xReturned == pdPASS);

  BaseType_t mic_task_xReturned = xTaskCreate(mic_task,
                                                   "MicTask",
                                                   configMINIMAL_STACK_SIZE,
                                                   (void *) 1,
                                                   osPriorityAboveNormal1,
                                                   &mic_taskHandle);

  assert_param(mic_task_xReturned == pdPASS);

  uart_tx_bufferHandle = xStreamBufferCreate(UART_TX_BUFFER_SIZE, 1);
  assert_param(uart_tx_bufferHandle != NULL);

  usb_bufferHandle = xStreamBufferCreate(USB_STREAM_SIZE, MIN_USB_STREAM_SIZE);
  assert_param(usb_bufferHandle != NULL);
  /* USER CODE END RTOS_SEMAPHORES */

  /* Create the thread(s) */
  /* creation of defaultTask */
  defaultTaskHandle = osThreadNew(StartDefaultTask, NULL, &defaultTask_attributes);

}

void StartDefaultTask(void *argument)
{
  /* USER CODE BEGIN StartDefaultTask */
    UNUSED(argument);
    while (1) {
        osDelay(1);
    }
  /* USER CODE END StartDefaultTask */
}

/* USER CODE BEGIN Application */

/**
* @brief Function implementing the inputCtrl thread.
* @param argument: Not used
* @retval None
*/
void init_task(void *argument)
{
    UNUSED(argument);
    uart_transmit(clear_code);
    uart_transmit(welcome_message);
    uart_transmit(main_menu_message);
    uart_receive();

    /* suspend all signal in tasks until the corresponding mode activated */
//    vTaskSuspend(generate_signal_taskHandle);

    calculate_lut();
    calculate_dc_points();
    calculate_amplitudes();
    init_filter_array();
    enable_mic_dma();

    // todo_fixed: change tasks with user
    vTaskSuspend(mic_taskHandle);

    vTaskDelete(NULL);
}

/**
* @brief Function implementing the inputCtrl thread.
* @param argument: Not used
* @retval None
*/
void input_control(void *argument)
{
    UNUSED(argument);
    while (1) {
        ulTaskNotifyTake(pdTRUE, portMAX_DELAY);

        SEGGER_SYSVIEW_PrintfHost("rx_receive: %c", uart_rx_char);

        // process the char
        state_functions[program_state](uart_rx_char);

        // at the end re-enable dma port for another char
    }
}

/**
* @brief Function implementing the led_ctrl thread.
* @param argument: Not used
* @retval None
*/
void led_control(void *argument)
{
    UNUSED(argument);
    while (1) {
        ulTaskNotifyTake(pdTRUE, portMAX_DELAY);
        SEGGER_SYSVIEW_PrintfHost("led control fired");

        led_channel_ctrl(RED_CHANNEL, (mode_states & (MIC_ENABLE | SIGNAL_ENABLE | ADC_ENABLE)));
        led_channel_ctrl(ORANGE_CHANNEL, (mode_states & (FILTER_ENABLE)));
        led_channel_ctrl(BLUE_CHANNEL, (mode_states & (DAC_ENABLE | DRIVER_ENABLE)));
        led_channel_ctrl(GREEN_CHANNEL, (mode_states & (USB_ENABLE)));
    }
}

/**
* @brief Function implementing the uartTxTask thread.
* @param argument: Not used
* @retval None
*/
void uart_transmit_task(void *argument)
{
    UNUSED(argument);
    size_t received_bytes;
    while (1) {
        received_bytes = xStreamBufferReceive(uart_tx_bufferHandle,
                                              uart_tx_buffer,
                                              UART_TX_BUFFER_SIZE,
                                              portMAX_DELAY);
        if (received_bytes > 0) {
            HAL_UART_Transmit_DMA(&huart2, &uart_tx_buffer[0], received_bytes);
            ulTaskNotifyTake(pdTRUE, portMAX_DELAY);    // DMA TX ISR will notify if transfer is completed
            memset(uart_tx_buffer, 0, UART_TX_BUFFER_SIZE);
        }
        else {
            // todo: is sleeping necessary?
            vTaskDelay(pdMS_TO_TICKS(500));
        }
    }
}

void generate_signal(void *argument) {
    UNUSED(argument);

    while (1) {
        if (mode_states & SIGNAL_ENABLE) {
            signal_functions[signal_settings.signal_type]();
        } else if (mode_states & MIC_ENABLE) {
            uint16_t *pdm_ptr = &mic_pdm_buffer[mic_pdm_buffer_state];
            PDM_Filter((uint8_t*) pdm_ptr, signal_buffer, &PDM1_filter_handler);
        }

        /* run filter task, if it is suspended pass it */
        if (mode_states & FILTER_ENABLE) {
            xTaskNotifyGive(filter_taskHandle);
            ulTaskNotifyTake(pdTRUE, portMAX_DELAY);
        }

        /* send signal buffer to usb_task */
        xStreamBufferSend(usb_bufferHandle,
                          signal_buffer,
                          SIGNAL_SIZE_BYTES,
                          portMAX_DELAY);
    }
}

void filter_task(void *argument) {
    UNUSED(argument);

    while (1) {
        ulTaskNotifyTake(pdTRUE, portMAX_DELAY); // wait until signal buffer is ready
        memcpy(filter_buffer.current_inputs, signal_buffer, SIGNAL_SIZE_BYTES);

        if (use_sos)    iir_filter_sos_direct_1(signal_buffer);
        else   filter_functions[current_filter.filter_type](signal_buffer);

        xTaskNotifyGive(generate_signal_taskHandle);
    }
}

void mic_task(void *argument) {
    UNUSED(argument);

    while (1) {
        ulTaskNotifyTake(pdTRUE, portMAX_DELAY); // wait until i2s callbacks fired
        uint16_t *pdm_ptr = &mic_pdm_buffer[mic_pdm_buffer_state];
        PDM_Filter((uint8_t*) pdm_ptr, signal_buffer, &PDM1_filter_handler);

//        interpolate();

        /* run filter task, if it is suspended -> pass it */
        if (mode_states & FILTER_ENABLE) {
            xTaskNotifyGive(filter_taskHandle);
            ulTaskNotifyTake(pdTRUE, portMAX_DELAY);
        }

        /* send signal buffer to usb_task */
        xStreamBufferSend(usb_bufferHandle,
                          signal_buffer,
                          SIGNAL_SIZE_BYTES,
                          portMAX_DELAY);
    }
}

void usb_task(void *argument) {
    UNUSED(argument);

    usb_init();
    while (1) {
        tud_task();
//        vTaskDelay(pdMS_TO_TICKS(1));
    }
}

/* USER CODE END Application */
